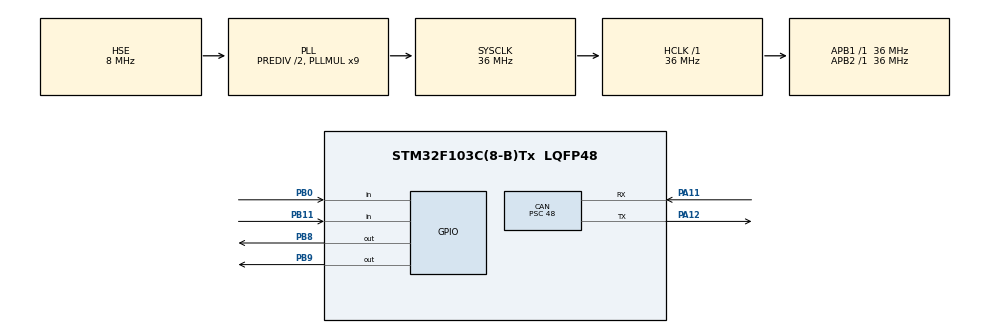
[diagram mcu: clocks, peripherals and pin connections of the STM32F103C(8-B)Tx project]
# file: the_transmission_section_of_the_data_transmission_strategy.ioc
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CAN.BS1=CAN_BS1_3TQ
CAN.BS2=CAN_BS2_2TQ
CAN.CalculateBaudRate=124999
CAN.CalculateTimeBit=8000
CAN.CalculateTimeQuantum=1333.3333333333335
CAN.Mode=CAN_MODE_NORMAL
CAN.Prescaler=48
CAN.SJW=CAN_SJW_2TQ
Mcu.Family=STM32F1
Mcu.Name=STM32F103C(8-B)Tx
Mcu.Package=LQFP48
NVIC.PriorityGroup=NVIC_PRIORITYGROUP_4
NVIC.TIM2_IRQn=true\:4\:0\:true\:false\:true\:true\:true\:true
PA11.Mode=CAN_Activate
PA11.Signal=CAN_RX
PA12.Mode=CAN_Activate
PA12.Signal=CAN_TX
PA13.Mode=Serial_Wire
PA13.Signal=SYS_JTMS-SWDIO
PA14.Mode=Serial_Wire
PA14.Signal=SYS_JTCK-SWCLK
PB0.GPIO_PuPd=GPIO_PULLUP
PB0.Signal=GPIO_Input
PB11.GPIO_PuPd=GPIO_PULLUP
PB11.Signal=GPIO_Input
PB8.GPIO_ModeDefaultOutputPP=GPIO_MODE_OUTPUT_OD
PB8.GPIO_PuPd=GPIO_NOPULL
PB8.Signal=GPIO_Output
PB9.GPIO_ModeDefaultOutputPP=GPIO_MODE_OUTPUT_OD
PB9.GPIO_PuPd=GPIO_NOPULL
PB9.PinState=GPIO_PIN_RESET
PB9.Signal=GPIO_Output
PC14-OSC32_IN.Mode=LSE-External-Oscillator
PC14-OSC32_IN.Signal=RCC_OSC32_IN
PC15-OSC32_OUT.Mode=LSE-External-Oscillator
PC15-OSC32_OUT.Signal=RCC_OSC32_OUT
PD0-OSC_IN.Mode=HSE-External-Oscillator
PD0-OSC_IN.Signal=RCC_OSC_IN
PD1-OSC_OUT.Mode=HSE-External-Oscillator
PD1-OSC_OUT.Signal=RCC_OSC_OUT
ProjectManager.HeapSize=0x200
ProjectManager.StackSize=0x400
ProjectManager.TargetToolchain=STM32CubeIDE
RCC.AHBFreq_Value=36000000
RCC.APB1Freq_Value=36000000
RCC.APB1TimFreq_Value=36000000
RCC.APB2Freq_Value=36000000
RCC.APB2TimFreq_Value=36000000
RCC.HCLKFreq_Value=36000000
RCC.HSEDivPLL=RCC_HSE_PREDIV_DIV2
RCC.PLLMUL=RCC_PLL_MUL9
RCC.PLLSourceVirtual=RCC_PLLSOURCE_HSE
RCC.SYSCLKFreq_VALUE=36000000
RCC.SYSCLKSource=RCC_SYSCLKSOURCE_PLLCLK
RCC.USBFreq_Value=36000000
TIM2.AutoReloadPreload=TIM_AUTORELOAD_PRELOAD_ENABLE
TIM2.Period=10000 - 1
TIM2.Prescaler=7200 - 1
VP_TIM2_VS_ClockSourceINT.Mode=Internal
board=custom

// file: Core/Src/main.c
/* USER CODE BEGIN Header */
/**
 ******************************************************************************
 * @file           : main.c
 * @brief          : Main program body
 ******************************************************************************
 * @attention
 *
 * Copyright (c) 2026 STMicroelectronics.
 * All rights reserved.
 *
 * This software is licensed under terms that can be found in the LICENSE file
 * in the root directory of this software component.
 * If no LICENSE file comes with this software, it is provided AS-IS.
 *
 ******************************************************************************
 */
/* USER CODE END Header */
#include "main.h"
#include "can.h"
#include "tim.h"
#include "gpio.h"

/* USER CODE BEGIN Includes */
#include "OLED.h"
#include "Key.h"
#include "stm32f1xx_it.h"
/* USER CODE END Includes */

/* USER CODE BEGIN PV */
uint8_t KeyNum = 0;

uint8_t TriggerFlag = 0;
CAN_TxHeaderTypeDef TxMsg_Timing =
{
		.StdId = 0x100,
		.ExtId = 0x00000000,
		.IDE =
		CAN_ID_STD,
		.RTR = CAN_RTR_DATA,
		.DLC = 4 };
uint8_t TxMsg_Timing_Data[4] =
{
		0x11,
		0x22,
		0x33,
		0x44 };

CAN_TxHeaderTypeDef TxMsg_Trigger =
{
		.StdId = 0x200,
		.ExtId = 0x00000000,
		.IDE =
		CAN_ID_STD,
		.RTR = CAN_RTR_DATA,
		.DLC = 4 };
uint8_t TxMsg_Trigger_Data[4] =
{
		0x11,
		0x22,
		0x33,
		0x44 };

CAN_RxHeaderTypeDef RxMsg =
{
		0 };
uint8_t RxMsg_Data[8] =
{
		0 };
uint8_t RequestFlag = 0;
CAN_TxHeaderTypeDef TxMsg_Request =
{
		.StdId = 0x300,
		.ExtId = 0x00000000,
		.IDE =
		CAN_ID_STD,
		.RTR = CAN_RTR_DATA,
		.DLC = 4 };
uint8_t TxMsg_Request_Data[4] =
{
		0x11,
		0x22,
		0x33,
		0x44 };

/* USER CODE END PV */

void SystemClock_Config(void);

int main(void)
{

	/* MCU Configuration--------------------------------------------------------*/

	/* Reset of all peripherals, Initializes the Flash interface and the Systick. */
	HAL_Init();

	/* Configure the system clock */
	SystemClock_Config();

	/* Initialize all configured peripherals */
	MX_GPIO_Init();
	MX_CAN_Init();
	MX_TIM2_Init();
	/* USER CODE BEGIN 2 */
	HAL_TIM_Base_Start_IT(&htim2);
	OLED_Init();

	OLED_ShowString(1, 1, "Tx :");
	OLED_ShowString(2, 1, "Tim:");
	OLED_ShowString(3, 1, "Tri:");
	OLED_ShowString(4, 1, "Req:");
	HAL_Delay(100);
	/* USER CODE END 2 */

	/* Infinite loop */
	/* USER CODE BEGIN WHILE */
	while (1)
	{

		//定时发送
		if (TimingFlag == 1)
		{
			TimingFlag = 0;

			TxMsg_Timing_Data[0]++;

			MyCAN_Transmit(TxMsg_Timing, TxMsg_Timing_Data);

			OLED_ShowHexNum(2, 5, TxMsg_Timing_Data[0], 2);
			OLED_ShowHexNum(2, 8, TxMsg_Timing_Data[1], 2);
			OLED_ShowHexNum(2, 11, TxMsg_Timing_Data[2], 2);
			OLED_ShowHexNum(2, 14, TxMsg_Timing_Data[3], 2);
		}

		//触发发送
		KeyNum = Key_GetNum();
		if (KeyNum == 1)
		{
			TriggerFlag = 1;
		}

		if (TriggerFlag == 1)
		{
			TriggerFlag = 0;

			TxMsg_Trigger_Data[0]++;

			MyCAN_Transmit(TxMsg_Trigger, TxMsg_Trigger_Data);

			OLED_ShowHexNum(3, 5, TxMsg_Trigger_Data[0], 2);
			OLED_ShowHexNum(3, 8, TxMsg_Trigger_Data[1], 2);
			OLED_ShowHexNum(3, 11, TxMsg_Trigger_Data[2], 2);
			OLED_ShowHexNum(3, 14, TxMsg_Trigger_Data[3], 2);
		}

		//请求发送
		if (MyCAN_ReceiveFlag() == 1)
		{
			MyCAN_Receive(&RxMsg, RxMsg_Data);
			if (RxMsg.IDE == CAN_ID_STD && RxMsg.RTR == CAN_RTR_REMOTE
					&& RxMsg.StdId == 0x300)
			{
				RequestFlag = 1;
			}
			if (RxMsg.IDE == CAN_ID_STD && RxMsg.RTR == CAN_RTR_DATA
					&& RxMsg.StdId == 0x3FF)
			{
				RequestFlag = 1;
			}
		}
		if (RequestFlag == 1)
		{
			RequestFlag = 0;

			TxMsg_Request_Data[0]++;

			MyCAN_Transmit(TxMsg_Request, TxMsg_Request_Data);

			OLED_ShowHexNum(4, 5, TxMsg_Request_Data[0], 2);
			OLED_ShowHexNum(4, 8, TxMsg_Request_Data[1], 2);
			OLED_ShowHexNum(4, 11, TxMsg_Request_Data[2], 2);
			OLED_ShowHexNum(4, 14, TxMsg_Request_Data[3], 2);
		}
		/* USER CODE END WHILE */

	}
}

void SystemClock_Config(void)
{
	RCC_OscInitTypeDef RCC_OscInitStruct =
	{
			0 };
	RCC_ClkInitTypeDef RCC_ClkInitStruct =
	{
			0 };

	/** Initializes the RCC Oscillators according to the specified parameters
	 * in the RCC_OscInitTypeDef structure.
	 */
	RCC_OscInitStruct.OscillatorType = RCC_OSCILLATORTYPE_HSE;
	RCC_OscInitStruct.HSEState = RCC_HSE_ON;
	RCC_OscInitStruct.HSEPredivValue = RCC_HSE_PREDIV_DIV2;
	RCC_OscInitStruct.HSIState = RCC_HSI_ON;
	RCC_OscInitStruct.PLL.PLLState = RCC_PLL_ON;
	RCC_OscInitStruct.PLL.PLLSource = RCC_PLLSOURCE_HSE;
	RCC_OscInitStruct.PLL.PLLMUL = RCC_PLL_MUL9;
	if (HAL_RCC_OscConfig(&RCC_OscInitStruct) != HAL_OK)
	{
		Error_Handler();
	}

	/** Initializes the CPU, AHB and APB buses clocks
	 */
	RCC_ClkInitStruct.ClockType = RCC_CLOCKTYPE_HCLK | RCC_CLOCKTYPE_SYSCLK
			| RCC_CLOCKTYPE_PCLK1 | RCC_CLOCKTYPE_PCLK2;
	RCC_ClkInitStruct.SYSCLKSource = RCC_SYSCLKSOURCE_PLLCLK;
	RCC_ClkInitStruct.AHBCLKDivider = RCC_SYSCLK_DIV1;
	RCC_ClkInitStruct.APB1CLKDivider = RCC_HCLK_DIV1;
	RCC_ClkInitStruct.APB2CLKDivider = RCC_HCLK_DIV1;

	if (HAL_RCC_ClockConfig(&RCC_ClkInitStruct, FLASH_LATENCY_1) != HAL_OK)
	{
		Error_Handler();
	}
}

void Error_Handler(void)
{
	__disable_irq();
	while (1)
	{
	}
}
